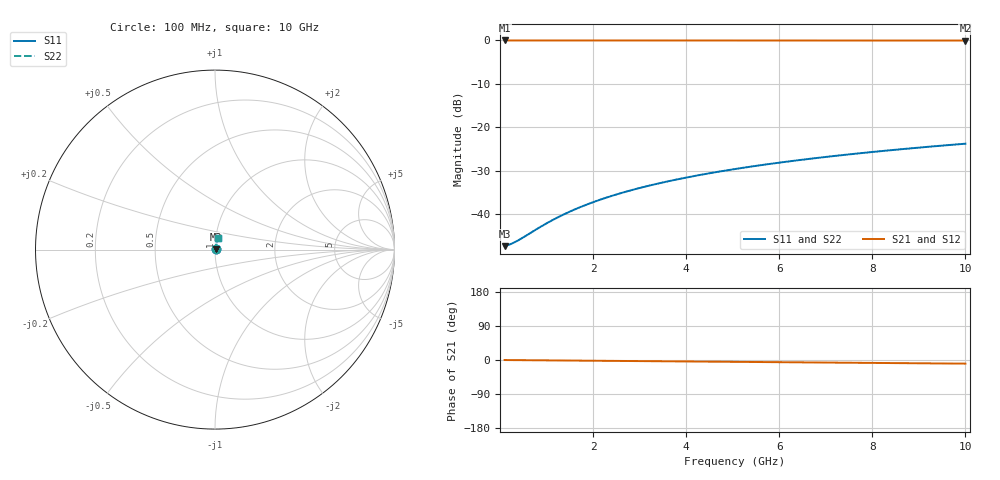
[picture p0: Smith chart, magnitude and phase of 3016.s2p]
# Hz S RI R 50.00
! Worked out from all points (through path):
!   100 points, 100 MHz to 10 GHz, reference 50 ohm
!   highest |S21| = -0.04 dB at 100 MHz (marker M1); lowest = -0.1 dB at 10 GHz (marker M2)
!   group delay of S21, straight-line fit = 2.67 ps
!   lowest |S11| = -47.4 dB at 100 MHz (marker M3), VSWR 1.01, Z = 50.4 + j0.0645 ohm
!   |S11| at or under -10 dB: start of sweep to end of sweep
!   |S22| runs from -47.4 to -23.8 dB; largest |S21 - S12| = 0
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1e8  0.0042 0.000639  0.9958 -0.00167  0.9958 -0.00167  0.0042 0.000639
2e8  0.00423 0.00128  0.9958 -0.00334  0.9958 -0.00334  0.00423 0.00128
3e8  0.00426 0.00192  0.9957 -0.00502  0.9957 -0.00502  0.00426 0.00192
4e8  0.00428 0.00256  0.9957 -0.00669  0.9957 -0.00669  0.00428 0.00256
9e8  0.00441 0.00575  0.9955 -0.015  0.9955 -0.015  0.00441 0.00575
1.2e9  0.0045 0.00766  0.9954 -0.0201  0.9954 -0.0201  0.0045 0.00766
1.5e9  0.00461 0.00958  0.9953 -0.0251  0.9953 -0.0251  0.00461 0.00958
1.8e9  0.00473 0.0115  0.9951 -0.0301  0.9951 -0.0301  0.00473 0.0115
2.1e9  0.00487 0.0134  0.9949 -0.0351  0.9949 -0.0351  0.00487 0.0134
2.5e9  0.00509 0.0159  0.9946 -0.0418  0.9946 -0.0418  0.00509 0.0159
2.9e9  0.00534 0.0185  0.9942 -0.0484  0.9942 -0.0484  0.00534 0.0185
3.4e9  0.0057 0.0217  0.9937 -0.0568  0.9937 -0.0568  0.0057 0.0217
3.8e9  0.00602 0.0242  0.9932 -0.0634  0.9932 -0.0634  0.00602 0.0242
4.2e9  0.00638 0.0267  0.9926 -0.0701  0.9926 -0.0701  0.00638 0.0267
4.6e9  0.00677 0.0292  0.9921 -0.0768  0.9921 -0.0768  0.00677 0.0292
5.1e9  0.00731 0.0324  0.9913 -0.0851  0.9913 -0.0851  0.00731 0.0324
5.9e9  0.00827 0.0374  0.9898 -0.0983  0.9898 -0.0983  0.00827 0.0374
6.7e9  0.00937 0.0424  0.9882 -0.1116  0.9882 -0.1116  0.00937 0.0424
7.5e9  0.0106 0.0473  0.9863 -0.1248  0.9863 -0.1248  0.0106 0.0473
8.4e9  0.0122 0.0528  0.984 -0.1396  0.984 -0.1396  0.0122 0.0528
9.2e9  0.0137 0.0577  0.9817 -0.1528  0.9817 -0.1528  0.0137 0.0577
1e10  0.0153 0.0625  0.9792 -0.1658  0.9792 -0.1658  0.0153 0.0625
